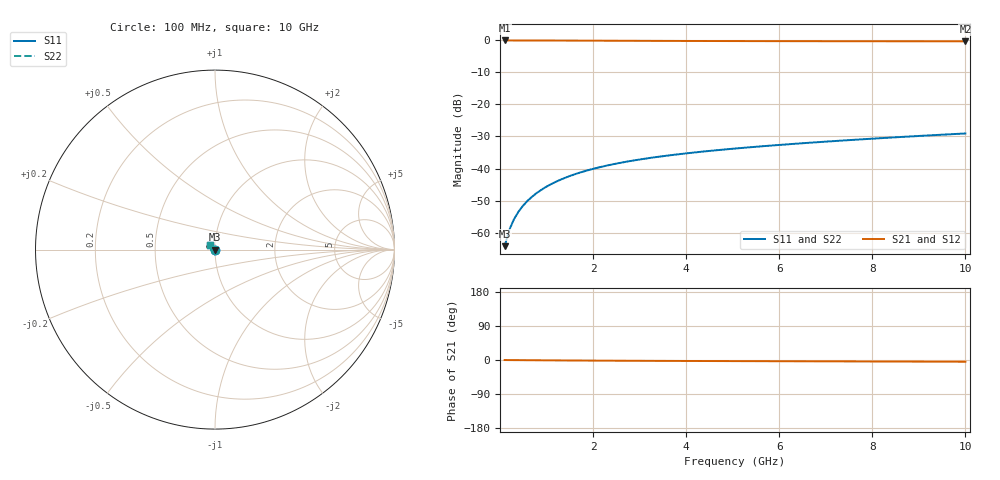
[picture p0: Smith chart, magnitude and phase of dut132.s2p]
! Touchstone file exported from HFSS 2024.1.0
!  File:  C:/UserFiles/LocalFiles/RDL_TSV_Batchsim/temp_TSV1_132_1779379740.aedt
!  Generated:  12:13:31 AM May 22, 2026
!  Design:  TSV1
!  Project:  temp_TSV1_132_1779379740
!  Setup:  Setup1
!  Solution:  Sweep
! Variables:
!  dtsv = 6.27um
!  hbump = 3um
!  htsv = 63.96um
!  lrdl = 252.1521522um
!  p = 40
!  p1 = 55.4um
!  t = 500um
!  trdl = 3um
!  wrdl = 24.89489489um
# GHz S MA R 50.000000
! Terminal data exported
! Port[1] = TSV22_T1
! Port[2] = TSV22_T2
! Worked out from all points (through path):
!   100 points, 100 MHz to 10 GHz, reference 50 ohm
!   highest |S21| = 0.00 dB at 100 MHz (marker M1); lowest = -0.3 dB at 10 GHz (marker M2)
!   lowest |S11| = -64.3 dB at 100 MHz (marker M3), VSWR 1.00, Z = 50 - j0.0539 ohm
!   |S11| at or under -10 dB: start of sweep to end of sweep
!   |S22| runs from -64.3 to -29.1 dB; largest |S21 - S12| = 5.4e-15
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0.1  0.0006123 -61.6  0.9997 -0.1  0.9997 -0.1  0.0006123 -61.6
! Gamma 0 0 0 0
! Port Impedance 50 0 50 0
0.2  0.001096 -78.6  0.9996 -0.2  0.9996 -0.2  0.001096 -78.6
0.3  0.001606 -86.6  0.9994 -0.3  0.9994 -0.3  0.001606 -86.6
0.4  0.002124 -91.9  0.9993 -0.4  0.9993 -0.4  0.002124 -91.9
0.5  0.002643 -96.1  0.999 -0.5  0.999 -0.5  0.002643 -96.1
0.6  0.003163 -99.8  0.9988 -0.5  0.9988 -0.5  0.003163 -99.8
0.7  0.00368 -103.0  0.9985 -0.6  0.9985 -0.6  0.00368 -103.0
0.8  0.004194 -106.1  0.9981 -0.7  0.9981 -0.7  0.004194 -106.1
0.9  0.004703 -108.9  0.9977 -0.8  0.9977 -0.8  0.004703 -108.9
1.1  0.005706 -114.3  0.9969 -1.0  0.9969 -1.0  0.005706 -114.3
1.4  0.007161 -121.9  0.9955 -1.2  0.9955 -1.2  0.007161 -121.9
1.6  0.008094 -126.6  0.9944 -1.3  0.9944 -1.3  0.008094 -126.6
1.8  0.008997 -131.1  0.9933 -1.5  0.9933 -1.5  0.008997 -131.1
2.1  0.01029 -137.5  0.9916 -1.7  0.9916 -1.7  0.01029 -137.5
2.5  0.01192 -145.6  0.9893 -1.9  0.9893 -1.9  0.01192 -145.6
2.9  0.01344 -152.9  0.9871 -2.1  0.9871 -2.1  0.01344 -152.9
3.4  0.01523 -161.4  0.9845 -2.3  0.9845 -2.3  0.01523 -161.4
4.2  0.01787 -173.1  0.9809 -2.6  0.9809 -2.6  0.01787 -173.1
5.1  0.02065 175.8  0.9777 -2.9  0.9777 -2.9  0.02065 175.8
6.7  0.02539 160.3  0.9736 -3.5  0.9736 -3.5  0.02539 160.3
8.4  0.03042 148.2  0.9708 -4.0  0.9708 -4.0  0.03042 148.2
10  0.03525 139.5  0.9688 -4.6  0.9688 -4.6  0.03525 139.5
